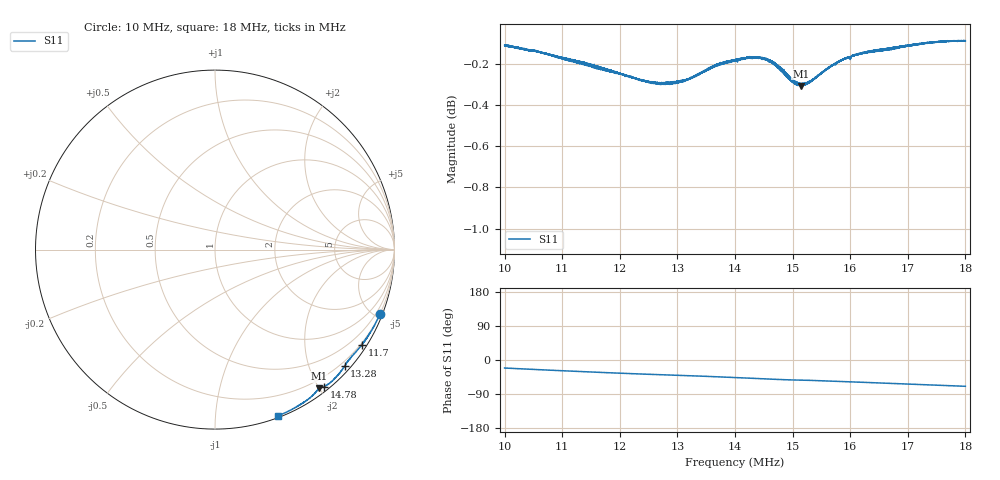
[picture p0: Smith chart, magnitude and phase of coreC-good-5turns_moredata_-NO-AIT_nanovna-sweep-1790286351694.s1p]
! NanoVNA Web complex sweep
! Processing: unaveraged complex samples; linear segment spacing; no smoothing
# Hz S RI R 50
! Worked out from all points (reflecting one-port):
!   10100 points, 10 MHz to 18 MHz, reference 50 ohm
!   lowest |S11| = -0.3 dB at 15.14 MHz (marker M1), VSWR 56.58, Z = 4.42 - j99.9 ohm
!   phase of S11 starts at -21 deg and turns -48 deg over the sweep
!   S11 on the Smith chart (normalised r, x): 10 MHz: 0.19, -5.34; 11.7 MHz: 0.16, -3.38; 13.28 MHz: 0.12, -2.61; 14.78 MHz: 0.07, -2.07; 18 MHz: 0.02, -1.44
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1e7  0.9208 -0.3567
1.003564e7  0.9189 -0.3607
1.055836e7  0.8902 -0.4197
1.10003e7  0.8634 -0.4649
1.136778e7  0.8408 -0.5005
1.169726e7  0.8185 -0.5296
1.19998e7  0.7982 -0.5548
1.252648e7  0.7639 -0.5938
1.30001e7  0.7373 -0.6268
1.328046e7  0.7228 -0.6475
1.363528e7  0.7023 -0.6773
1.39996e7  0.6761 -0.7081
1.424037e7  0.6578 -0.7271
1.449143e7  0.6351 -0.7465
1.464508e7  0.6201 -0.7566
1.478051e7  0.6061 -0.7629
1.49009e7  0.5949 -0.7662
1.49991e7  0.5871 -0.7688
1.514087e7  0.5794 -0.772
1.531194e7  0.5712 -0.7815
1.556301e7  0.5586 -0.7977
1.575942e7  0.5452 -0.8119
1.59994e7  0.5257 -0.8272
1.63851e7  0.4932 -0.8514
1.69989e7  0.4407 -0.8838
1.756122e7  0.3894 -0.9098
1.795881e7  0.352 -0.9253
1.799841e7  0.3483 -0.9267
